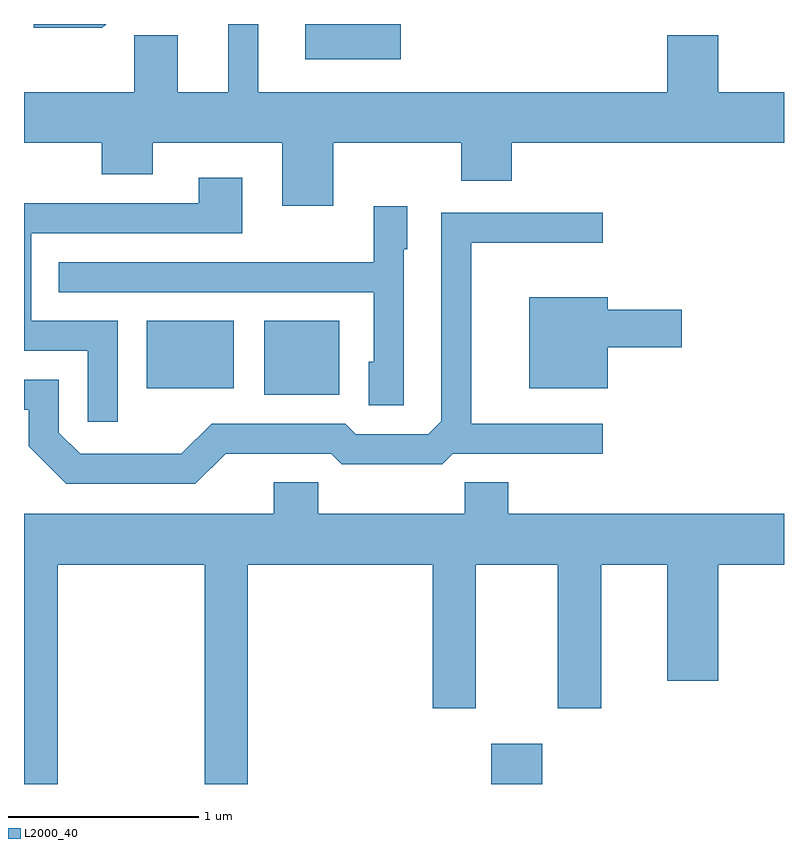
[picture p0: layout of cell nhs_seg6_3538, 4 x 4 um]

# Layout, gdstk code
import gdstk
lib = gdstk.Library(unit=1e-6, precision=1e-09)
def R(c, l, rs):  # rectangles x0, y0, x1, y1
    for r in rs: c.add(gdstk.rectangle(r[:2], r[2:], *l))
def P(c, l, *ps):  # polygons
    for p in ps: c.add(gdstk.Polygon(p, *l))
L2000_40 = (2000, 40)

nhs_seg6_3538 = lib.new_cell('nhs_seg6_3538')
R(nhs_seg6_3538, L2000_40, [(294.071,1602.162,294.339,1602.374), (292.876,1604.211,293.269,1604.599), (292.256,1604.246,292.714,1604.599), (293.091,1605.976,293.594,1606.162)])
P(nhs_seg6_3538, L2000_40, [(293.239,1605.536),(293.911,1605.536),(293.911,1605.336),(294.179,1605.336),(294.179,1605.536),(295.611,1605.536),(295.611,1605.804),(295.264,1605.804),(295.264,1606.104),(294.996,1606.104),(294.996,1605.804),(292.844,1605.804),(292.844,1606.162),(292.686,1606.162),(292.686,1605.804),(292.419,1605.804),(292.419,1606.104),(292.191,1606.104),(292.191,1605.804),(291.611,1605.804),(291.611,1605.536),(292.021,1605.536),(292.021,1605.371),(292.289,1605.371),(292.289,1605.536),(292.971,1605.536),(292.971,1605.206),(293.239,1605.206)],
  [(292.045,1606.162),(291.663,1606.162),(291.663,1606.141),(292.024,1606.141)],
  [(292.104,1604.599),(291.649,1604.599),(291.649,1605.061),(292.759,1605.061),(292.759,1605.354),(292.531,1605.354),(292.531,1605.219),(291.611,1605.219),(291.611,1604.441),(291.946,1604.441),(291.946,1604.068),(292.104,1604.068)],
  [(293.609,1604.976),(293.629,1604.976),(293.629,1605.204),(293.451,1605.204),(293.451,1604.909),(291.793,1604.909),(291.793,1604.751),(293.451,1604.751),(293.451,1604.384),(293.426,1604.384),(293.426,1604.156),(293.609,1604.156)],
  [(292.672,1603.901),(293.229,1603.901),(293.284,1603.846),(293.812,1603.846),(293.867,1603.901),(294.658,1603.901),(294.658,1604.059),(293.964,1604.059),(293.964,1605.011),(294.658,1605.011),(294.658,1605.169),(293.806,1605.169),(293.806,1604.072),(293.739,1604.004),(293.357,1604.004),(293.302,1604.059),(292.599,1604.059),(292.439,1603.899),(291.907,1603.899),(291.794,1604.012),(291.794,1604.289),(291.611,1604.289),(291.611,1604.131),(291.636,1604.131),(291.636,1603.939),(291.834,1603.741),(292.512,1603.741)],
  [(294.684,1604.461),(295.074,1604.461),(295.074,1604.659),(294.684,1604.659),(294.684,1604.724),(294.271,1604.724),(294.271,1604.246),(294.684,1604.246)],
  [(291.789,1603.316),(292.561,1603.316),(292.561,1602.162),(292.789,1602.162),(292.789,1603.316),(293.761,1603.316),(293.761,1602.561),(293.989,1602.561),(293.989,1603.316),(294.421,1603.316),(294.421,1602.561),(294.649,1602.561),(294.649,1603.316),(294.996,1603.316),(294.996,1602.706),(295.264,1602.706),(295.264,1603.316),(295.611,1603.316),(295.611,1603.584),(294.159,1603.584),(294.159,1603.749),(293.931,1603.749),(293.931,1603.584),(293.159,1603.584),(293.159,1603.749),(292.926,1603.749),(292.926,1603.584),(291.611,1603.584),(291.611,1602.162),(291.789,1602.162)])

lib.write_gds('nhs_seg6_3538.gds')
